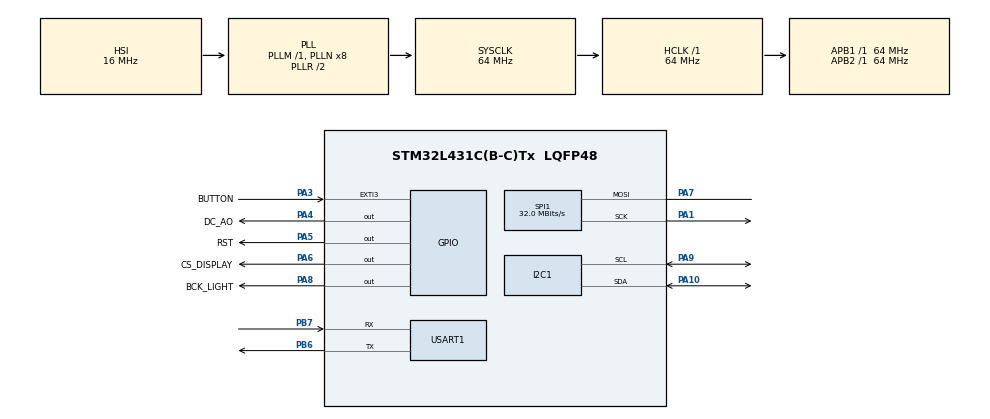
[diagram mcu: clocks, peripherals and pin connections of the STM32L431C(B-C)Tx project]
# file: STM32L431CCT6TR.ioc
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I2C1.Timing=0x10B17DB5
Mcu.Family=STM32L4
Mcu.Name=STM32L431C(B-C)Tx
Mcu.Package=LQFP48
NVIC.EXTI3_IRQn=true\:0\:0\:false\:false\:true\:true\:true\:true
NVIC.PriorityGroup=NVIC_PRIORITYGROUP_4
PA1.Mode=Simplex_Bidirectional_Master
PA1.Signal=SPI1_SCK
PA10.Mode=I2C
PA10.Signal=I2C1_SDA
PA13\ (JTMS-SWDIO).Mode=Serial_Wire
PA13\ (JTMS-SWDIO).Signal=SYS_JTMS-SWDIO
PA14\ (JTCK-SWCLK).Mode=Serial_Wire
PA14\ (JTCK-SWCLK).Signal=SYS_JTCK-SWCLK
PA3.GPIO_Label=BUTTON
PA3.Signal=GPXTI3
PA4.GPIO_Label=DC_AO
PA4.Signal=GPIO_Output
PA5.GPIO_Label=RST
PA5.Signal=GPIO_Output
PA6.GPIO_Label=CS_DISPLAY
PA6.Signal=GPIO_Output
PA7.Mode=Simplex_Bidirectional_Master
PA7.Signal=SPI1_MOSI
PA8.GPIO_Label=BCK_LIGHT
PA8.Signal=GPIO_Output
PA9.Mode=I2C
PA9.Signal=I2C1_SCL
PB3\ (JTDO-TRACESWO).Signal=SYS_JTDO-SWO
PB6.Mode=Asynchronous
PB6.Signal=USART1_TX
PB7.Mode=Asynchronous
PB7.Signal=USART1_RX
ProjectManager.HeapSize=0x200
ProjectManager.StackSize=0x400
ProjectManager.TargetToolchain=STM32CubeIDE
RCC.ADCFreq_Value=64000000
RCC.AHBFreq_Value=64000000
RCC.APB1Freq_Value=64000000
RCC.APB1TimFreq_Value=64000000
RCC.APB2Freq_Value=64000000
RCC.APB2TimFreq_Value=64000000
RCC.CortexFreq_Value=64000000
RCC.HCLKFreq_Value=64000000
RCC.HSE_VALUE=8000000
RCC.HSI48_VALUE=48000000
RCC.HSI_VALUE=16000000
RCC.LSE_VALUE=32768
RCC.MSI_VALUE=4000000
RCC.PLLSourceVirtual=RCC_PLLSOURCE_HSI
RCC.SYSCLKFreq_VALUE=64000000
RCC.SYSCLKSource=RCC_SYSCLKSOURCE_PLLCLK
RCC.VCOOutputFreq_Value=128000000
SPI1.BaudRatePrescaler=SPI_BAUDRATEPRESCALER_2
SPI1.CalculateBaudRate=32.0 MBits/s
SPI1.DataSize=SPI_DATASIZE_8BIT
SPI1.Direction=SPI_DIRECTION_1LINE
SPI1.Mode=SPI_MODE_MASTER
SPI1.VirtualType=VM_MASTER
USART1.VirtualMode-Asynchronous=VM_ASYNC
board=custom

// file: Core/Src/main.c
/* USER CODE BEGIN Header */
/**
  ******************************************************************************
  * @file           : main.c
  * @brief          : Main program body
  ******************************************************************************
  * @attention
  *
  * Copyright (c) 2026 STMicroelectronics.
  * All rights reserved.
  *
  * This software is licensed under terms that can be found in the LICENSE file
  * in the root directory of this software component.
  * If no LICENSE file comes with this software, it is provided AS-IS.
  *
  ******************************************************************************
  */
/* USER CODE END Header */
#include "main.h"
#include "i2c.h"
#include "spi.h"
#include "usart.h"
#include "gpio.h"

/* USER CODE BEGIN Includes */
#include "test_functions.h"
#include "st7735.h"
#include "GFX_FUNCTIONS.h"
#include "version.h"
#include <stdio.h>
/* USER CODE END Includes */

/* USER CODE BEGIN PV */
uint8_t button_cnt = 0;
/* USER CODE END PV */

void SystemClock_Config(void);
/* USER CODE BEGIN PFP */
int __io_putchar(int ch);
/* USER CODE END PFP */

int main(void)
{

  /* MCU Configuration--------------------------------------------------------*/

  /* Reset of all peripherals, Initializes the Flash interface and the Systick. */
  HAL_Init();

  /* Configure the system clock */
  SystemClock_Config();

  /* Initialize all configured peripherals */
  MX_GPIO_Init();
  MX_I2C1_Init();
  MX_SPI1_Init();
  MX_USART1_UART_Init();
  /* USER CODE BEGIN 2 */

  printf("Test Firmware Version: %d.%d.%d\n", MAJOR, MINOR, BUILD);

  ST7735_Init(0);
  fillScreen(BLACK);

  /* USER CODE END 2 */

  /* Infinite loop */
  while (1)
  {

    /* USER CODE BEGIN 3 */

	  TestUart1();
	  TestI2C();
	  TestSGP40();
	  TestSHT40_AD1B();
	  TestButton();
	  TestDisplay();

	  HAL_Delay(1000);
  }
  /* USER CODE END 3 */
}

void SystemClock_Config(void)
{
  RCC_OscInitTypeDef RCC_OscInitStruct = {0};
  RCC_ClkInitTypeDef RCC_ClkInitStruct = {0};

  /** Configure the main internal regulator output voltage
  */
  if (HAL_PWREx_ControlVoltageScaling(PWR_REGULATOR_VOLTAGE_SCALE1) != HAL_OK)
  {
    Error_Handler();
  }

  /** Initializes the RCC Oscillators according to the specified parameters
  * in the RCC_OscInitTypeDef structure.
  */
  RCC_OscInitStruct.OscillatorType = RCC_OSCILLATORTYPE_HSI;
  RCC_OscInitStruct.HSIState = RCC_HSI_ON;
  RCC_OscInitStruct.HSICalibrationValue = RCC_HSICALIBRATION_DEFAULT;
  RCC_OscInitStruct.PLL.PLLState = RCC_PLL_ON;
  RCC_OscInitStruct.PLL.PLLSource = RCC_PLLSOURCE_HSI;
  RCC_OscInitStruct.PLL.PLLM = 1;
  RCC_OscInitStruct.PLL.PLLN = 8;
  RCC_OscInitStruct.PLL.PLLP = RCC_PLLP_DIV7;
  RCC_OscInitStruct.PLL.PLLQ = RCC_PLLQ_DIV2;
  RCC_OscInitStruct.PLL.PLLR = RCC_PLLR_DIV2;
  if (HAL_RCC_OscConfig(&RCC_OscInitStruct) != HAL_OK)
  {
    Error_Handler();
  }

  /** Initializes the CPU, AHB and APB buses clocks
  */
  RCC_ClkInitStruct.ClockType = RCC_CLOCKTYPE_HCLK|RCC_CLOCKTYPE_SYSCLK
                              |RCC_CLOCKTYPE_PCLK1|RCC_CLOCKTYPE_PCLK2;
  RCC_ClkInitStruct.SYSCLKSource = RCC_SYSCLKSOURCE_PLLCLK;
  RCC_ClkInitStruct.AHBCLKDivider = RCC_SYSCLK_DIV1;
  RCC_ClkInitStruct.APB1CLKDivider = RCC_HCLK_DIV1;
  RCC_ClkInitStruct.APB2CLKDivider = RCC_HCLK_DIV1;

  if (HAL_RCC_ClockConfig(&RCC_ClkInitStruct, FLASH_LATENCY_3) != HAL_OK)
  {
    Error_Handler();
  }
}

/* USER CODE BEGIN 4 */

// Custom redefinition
int __io_putchar(int ch)
{
	HAL_UART_Transmit(&huart1, (uint8_t*)&ch, 1, HAL_MAX_DELAY);
	return 0;
}

void HAL_GPIO_EXTI_Callback(uint16_t GPIO_Pin)
{
	button_cnt = (button_cnt % 10) + 1;
}

/* USER CODE END 4 */

void Error_Handler(void)
{
  __disable_irq();
  while (1)
  {
  }
}
